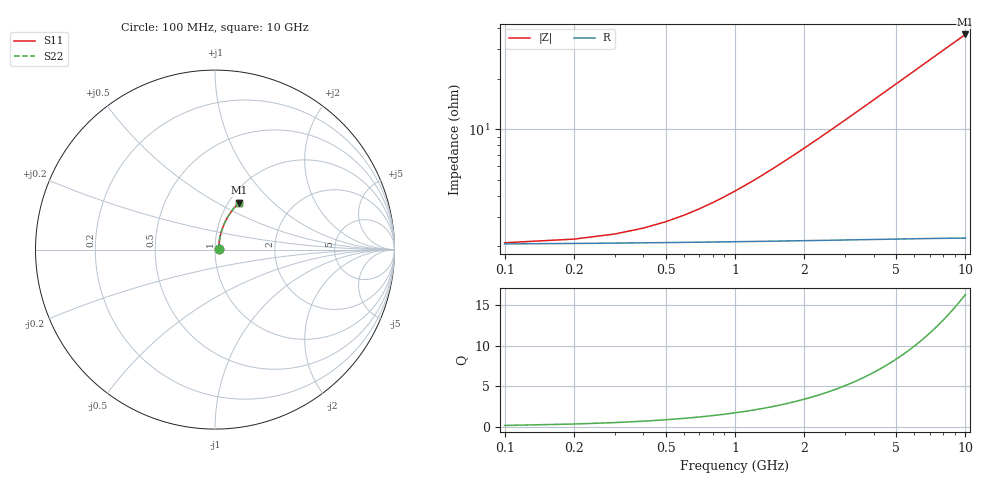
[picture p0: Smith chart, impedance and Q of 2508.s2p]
# Hz S RI R 50.00
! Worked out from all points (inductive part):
!   100 points, 100 MHz to 10 GHz, reference 50 ohm
!   read as one part in series: L = 589 pH near 1.8 GHz
!   highest Q = 16.3 at 10 GHz (marker M1), where L = 583 pH
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1e8  0.0203 0.00302  0.9797 -0.00409  0.9797 -0.00409  0.0203 0.00302
2e8  0.0204 0.00604  0.9796 -0.00817  0.9796 -0.00817  0.0204 0.00604
3e8  0.0206 0.00906  0.9794 -0.0123  0.9794 -0.0123  0.0206 0.00906
4e8  0.0208 0.0121  0.9792 -0.0163  0.9792 -0.0163  0.0208 0.0121
9e8  0.0219 0.0271  0.9781 -0.0367  0.9781 -0.0367  0.0219 0.0271
1.2e9  0.0228 0.0361  0.9771 -0.0489  0.9771 -0.0489  0.0228 0.0361
1.5e9  0.0239 0.0451  0.976 -0.0611  0.976 -0.0611  0.0239 0.0451
1.8e9  0.0252 0.054  0.9746 -0.0732  0.9746 -0.0732  0.0252 0.054
2.1e9  0.0267 0.0629  0.973 -0.0853  0.973 -0.0853  0.0267 0.0629
2.5e9  0.0291 0.0747  0.9705 -0.1013  0.9705 -0.1013  0.0291 0.0747
2.9e9  0.0319 0.0864  0.9676 -0.1173  0.9676 -0.1173  0.0319 0.0864
3.4e9  0.0358 0.1008  0.9635 -0.137  0.9635 -0.137  0.0358 0.1008
3.8e9  0.0394 0.1121  0.9597 -0.1527  0.9597 -0.1527  0.0394 0.1121
4.2e9  0.0434 0.1233  0.9556 -0.1681  0.9556 -0.1681  0.0434 0.1233
4.6e9  0.0477 0.1344  0.9511 -0.1835  0.9511 -0.1835  0.0477 0.1344
5.1e9  0.0535 0.1479  0.9449 -0.2024  0.9449 -0.2024  0.0535 0.1479
5.9e9  0.0639 0.169  0.934 -0.232  0.934 -0.232  0.0639 0.169
6.7e9  0.0756 0.1891  0.9217 -0.2607  0.9217 -0.2607  0.0756 0.1891
7.5e9  0.0884 0.2083  0.9083 -0.2884  0.9083 -0.2884  0.0884 0.2083
8.4e9  0.1041 0.2286  0.8917 -0.3185  0.8917 -0.3185  0.1041 0.2286
9.2e9  0.119 0.2455  0.876 -0.344  0.876 -0.344  0.119 0.2455
1e10  0.1348 0.2612  0.8593 -0.3684  0.8593 -0.3684  0.1348 0.2612
